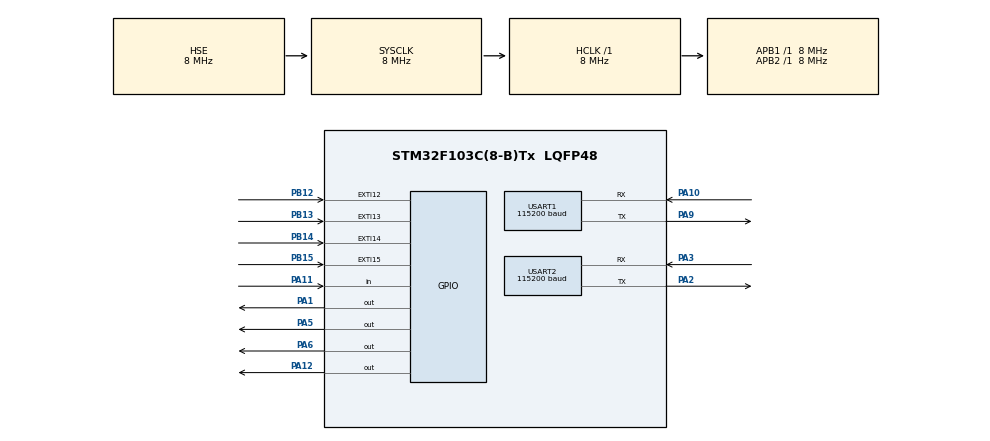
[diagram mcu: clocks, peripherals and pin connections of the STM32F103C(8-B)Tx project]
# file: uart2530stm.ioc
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Mcu.Family=STM32F1
Mcu.Name=STM32F103C(8-B)Tx
Mcu.Package=LQFP48
NVIC.EXTI15_10_IRQn=true\:0\:0\:false
NVIC.PriorityGroup=NVIC_PRIORITYGROUP_4
NVIC.TIM2_IRQn=true\:0\:0\:false
NVIC.TIM3_IRQn=true\:0\:0\:false
NVIC.USART1_IRQn=true\:0\:0\:false
NVIC.USART2_IRQn=true\:1\:0\:true
PA1.Signal=GPIO_Output
PA10.GPIO_PuPd=GPIO_NOPULL
PA10.Mode=Asynchronous
PA10.Signal=USART1_RX
PA11.GPIO_PuPd=GPIO_PULLUP
PA11.Signal=GPIO_Input
PA12.GPIO_Speed=GPIO_SPEED_HIGH
PA12.Signal=GPIO_Output
PA2.Mode=Asynchronous
PA2.Signal=USART2_TX
PA3.GPIO_PuPd=GPIO_PULLUP
PA3.Mode=Asynchronous
PA3.Signal=USART2_RX
PA5.Signal=GPIO_Output
PA6.Signal=GPIO_Output
PA9.Mode=Asynchronous
PA9.Signal=USART1_TX
PB12.GPIO_PuPd=GPIO_PULLUP
PB12.Signal=GPXTI12
PB13.GPIO_PuPd=GPIO_PULLUP
PB13.Signal=GPXTI13
PB14.GPIO_PuPd=GPIO_PULLUP
PB14.Signal=GPXTI14
PB15.GPIO_PuPd=GPIO_PULLUP
PB15.Signal=GPXTI15
PC14-OSC32_IN.Mode=LSE-External-Oscillator
PC14-OSC32_IN.Signal=RCC_OSC32_IN
PC15-OSC32_OUT.Mode=LSE-External-Oscillator
PC15-OSC32_OUT.Signal=RCC_OSC32_OUT
PD0-OSC_IN.Mode=HSE-External-Oscillator
PD0-OSC_IN.Signal=RCC_OSC_IN
PD1-OSC_OUT.Mode=HSE-External-Oscillator
PD1-OSC_OUT.Signal=RCC_OSC_OUT
ProjectManager.TargetToolchain=EWARM
RCC.AHBFreq_Value=8000000
RCC.APB1Freq_Value=8000000
RCC.APB1TimFreq_Value=8000000
RCC.APB2Freq_Value=8000000
RCC.APB2TimFreq_Value=8000000
RCC.HCLKFreq_Value=8000000
RCC.HSIState=RCC_HSI_ON
RCC.PLLMUL=RCC_PLL_MUL9
RCC.PLLSourceVirtual=RCC_PLLSOURCE_HSE
RCC.SYSCLKFreq_VALUE=8000000
RCC.SYSCLKSource=RCC_SYSCLKSOURCE_HSE
RCC.USBFreq_Value=72000000
TIM2.Period=4999
TIM2.Prescaler=7999
TIM2.TIM_MasterOutputTrigger=TIM_TRGO_UPDATE
TIM3.Period=1
TIM3.Prescaler=7999
TIM3.TIM_MasterOutputTrigger=TIM_TRGO_UPDATE
USART1.BaudRate=115200
USART2.BaudRate=115200
USART2.Parity=UART_PARITY_NONE
USART2.WordLength=UART_WORDLENGTH_8B
VP_TIM2_VS_ClockSourceINT.Mode=Internal
VP_TIM3_VS_ClockSourceINT.Mode=Internal
board=uart2530stm

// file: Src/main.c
/**
  ******************************************************************************
  * File Name          : main.c
  * Description        : Main program body
  ******************************************************************************
  *
  * COPYRIGHT(c) 2016 STMicroelectronics
  *
  * Redistribution and use in source and binary forms, with or without modification,
  * are permitted provided that the following conditions are met:
  *   1. Redistributions of source code must retain the above copyright notice,
  *      this list of conditions and the following disclaimer.
  *   2. Redistributions in binary form must reproduce the above copyright notice,
  *      this list of conditions and the following disclaimer in the documentation
  *      and/or other materials provided with the distribution.
  *   3. Neither the name of STMicroelectronics nor the names of its contributors
  *      may be used to endorse or promote products derived from this software
  *      without specific prior written permission.
  *
  * THIS SOFTWARE IS PROVIDED BY THE COPYRIGHT HOLDERS AND CONTRIBUTORS "AS IS"
  * AND ANY EXPRESS OR IMPLIED WARRANTIES, INCLUDING, BUT NOT LIMITED TO, THE
  * IMPLIED WARRANTIES OF MERCHANTABILITY AND FITNESS FOR A PARTICULAR PURPOSE ARE
  * DISCLAIMED. IN NO EVENT SHALL THE COPYRIGHT HOLDER OR CONTRIBUTORS BE LIABLE
  * FOR ANY DIRECT, INDIRECT, INCIDENTAL, SPECIAL, EXEMPLARY, OR CONSEQUENTIAL
  * DAMAGES (INCLUDING, BUT NOT LIMITED TO, PROCUREMENT OF SUBSTITUTE GOODS OR
  * SERVICES; LOSS OF USE, DATA, OR PROFITS; OR BUSINESS INTERRUPTION) HOWEVER
  * CAUSED AND ON ANY THEORY OF LIABILITY, WHETHER IN CONTRACT, STRICT LIABILITY,
  * OR TORT (INCLUDING NEGLIGENCE OR OTHERWISE) ARISING IN ANY WAY OUT OF THE USE
  * OF THIS SOFTWARE, EVEN IF ADVISED OF THE POSSIBILITY OF SUCH DAMAGE.
  *
  ******************************************************************************
  */
#include "stm32f1xx_hal.h"

/* USER CODE BEGIN Includes */
#include <string.h>
#define GFF_CONST 3

/* USER CODE END Includes */

TIM_HandleTypeDef htim2;
TIM_HandleTypeDef htim3;

UART_HandleTypeDef huart1;
UART_HandleTypeDef huart2;

/* USER CODE BEGIN PV */
/* Private variables ---------------------------------------------------------*/

/* USER CODE END PV */

void SystemClock_Config(void);
static void MX_GPIO_Init(void);
static void MX_TIM2_Init(void);
static void MX_TIM3_Init(void);
static void MX_USART1_UART_Init(void);
static void MX_USART2_UART_Init(void);

/* USER CODE BEGIN PFP */
void perform_setup(void);
/* Private function prototypes -----------------------------------------------*/

/* USER CODE END PFP */

/* USER CODE BEGIN 0 */
typedef char byte;

void awesome_print(byte *buffer, int length) {
  for (int i = 0; i < length; i++) {
    printf("%02X", buffer[i]);
  }
}
//byte SETTINGS_RESET[] ={0xFE, 0x03, 0x26, 0x05, 0x03, 0x01, 0x03, 0x21};
byte SETTINGS_RESET[] ={0xFE, 0x03, 0x26, 0x05, 0x03, 0x01, 0x00, 0x22};
//byte SYS_RESET_REQ[] = {0xFE, 0x00, 0x21, 0x00, 0x21};
byte SYS_RESET_REQ[] = {0xFE, 0x01, 0x41, 0x00, 0x00, 0x40};
//byte TXPOWER[] = {0xFE, 0x02, 0x21, 0x0F, 0x00, 0x0F, 0x23};
byte SETUP_1[] = {0xFE, 0x03, 0x26, 0x05, 0x87, 0x01, 0x00, 0xA6}; //Coordinator
//byte SETUP_1[] = {0xFE, 0x03, 0x26, 0x05, 0x87, 0x01, 0x01, 0xA7}; //Router
byte SETUP_2[] = {0xFE, 0x04, 0x26, 0x05, 0x83, 0x02, 0x13, 0x37, 0x82};
//byte SETUP_3[] = {0xFE, 0x06, 0x26, 0x05, 0x84, 0x04, 0x00, 0x00, 0x08, 0x00, 0xAD};
byte SETUP_3[] = {0xFE, 0x12, 0x26, 0x05, 0x62, 0x10, 0x13, 0x37, 0x13, 0x37, 0x13, 0x37, 0x13, 0x37, 0x13, 0x37, 0x13, 0x37, 0x13, 0x37, 0x13, 0x37, 0x43};
//byte SETUP_4[] = {0xFE, 0x03, 0x26, 0x05, 0x63, 0x01, 0x01, 0x43};
//byte SETUP_5[] = {0xFE, 0x03, 0x26, 0x05, 0x64, 0x01, 0x01, 0x44};
byte SETUP_4[] = {0xFE, 0x15, 0x26, 0x0A, 0x05, 0x05, 0x05, 0x14, 0x88, 0x01, 0x00, 0x02, 0x26, 0x03, 0x26, 0x06, 0x04, 0x46, 0x87, 0x46, 0x83, 0x66, 0x03, 0x66, 0x06, 0xA3};
byte SETUP_START[] = {0xFE, 0x00, 0x26, 0x00, 0x26};
//byte GET_PANID[] = {0xFE, 0x01, 0x26, 0x06, 0x06, 0x27};

GPIO_PinState cts;
GPIO_PinState rts;
byte receive_buffer_1[256];
byte send_buffer_1[256];
byte gff[253];
byte gff_len;

typedef enum {
    WAIT_SOF,
    WAIT_LEN,
    WAIT_GFF,
    WAIT_FCS
} state_type;

state_type state = WAIT_SOF;
byte len;

byte calcFCS(byte *pMsg, unsigned int len) {
    uint8_t result = 0;
    while (len--) {
        result ^= *pMsg++;
    }
    return result;
}

void HAL_UART_TxCpltCallback(UART_HandleTypeDef *huart) {
    if (huart == &huart2) {
      HAL_GPIO_WritePin(GPIOA, GPIO_PIN_1, GPIO_PIN_RESET);
    }
}
int iter = 0;
void HAL_UART_RxCpltCallback(UART_HandleTypeDef *huart) {
    if (huart == &huart1) {
      HAL_GPIO_WritePin(GPIOA, GPIO_PIN_12, GPIO_PIN_SET);
        switch(state) {
            case WAIT_SOF:
            if (receive_buffer_1[0] = 0xFE) {
                state = WAIT_LEN;
                HAL_UART_Receive_IT(&huart1, receive_buffer_1, 1);
            }
            HAL_GPIO_WritePin(GPIOA, GPIO_PIN_12, GPIO_PIN_RESET);
            break;

            case WAIT_LEN:
            gff_len = receive_buffer_1[0] + GFF_CONST;
            state = WAIT_GFF;
            HAL_UART_Receive_IT(&huart1, receive_buffer_1, gff_len - 1);
            HAL_GPIO_WritePin(GPIOA, GPIO_PIN_12, GPIO_PIN_RESET);
            break;

            case WAIT_GFF:
            state = WAIT_FCS;
            gff[0] = gff_len - GFF_CONST;
            memcpy(gff + 1, receive_buffer_1, gff_len - 1);
            HAL_UART_Receive_IT(&huart1, receive_buffer_1, 1);
            HAL_GPIO_WritePin(GPIOA, GPIO_PIN_12, GPIO_PIN_RESET);
            break;

            case WAIT_FCS:
            state = WAIT_SOF;
            if (receive_buffer_1[0] == calcFCS(gff, gff_len)) {
                // stm32 actions on zb response here
                printf("%d: ", iter++);
                awesome_print(gff, gff_len);
                printf("\n");
                perform_setup();
            }
            HAL_UART_Receive_IT(&huart1, receive_buffer_1, 1);
            HAL_GPIO_WritePin(GPIOA, GPIO_PIN_12, GPIO_PIN_RESET);
            break;
            default:
            break;
        }
    }
    if (huart == &huart2) {

    }
}
typedef enum {
  S_RESET_SET,
  S_RESTART,
  S_SETUP_1,
  S_SETUP_2,
  S_SETUP_3,
  S_SETUP_4,
  S_START,
  S_START_RES_1,
  S_START_RES_2,
  NOTHING
} setup_state;
//setup_state s_state = S_RESET_SET;
setup_state s_state = S_RESTART;

void perform_setup() {
  do {
    cts = HAL_GPIO_ReadPin(GPIOA, GPIO_PIN_11);
  } while (cts == GPIO_PIN_SET);
  switch (s_state) {
  case S_RESET_SET:
    HAL_UART_Transmit_IT(&huart1, SETTINGS_RESET, sizeof(SETTINGS_RESET));
    s_state++;
    break;
  case S_RESTART:
    HAL_UART_Transmit_IT(&huart1, SYS_RESET_REQ, sizeof(SYS_RESET_REQ));
    s_state++;
    break;
  case S_SETUP_1:
    HAL_UART_Transmit_IT(&huart1, SETUP_1, sizeof(SETUP_1));
    s_state++;
    break;
  case S_SETUP_2:
    HAL_UART_Transmit_IT(&huart1, SETUP_2, sizeof(SETUP_2));
    s_state++;
    break;
  case S_SETUP_3:
    HAL_UART_Transmit_IT(&huart1, SETUP_3, sizeof(SETUP_3));
    s_state++;
    break;
  case S_SETUP_4:
    HAL_UART_Transmit_IT(&huart1, SETUP_4, sizeof(SETUP_4));
    s_state++;
    break;
  case S_START:

    HAL_UART_Transmit_IT(&huart1, SETUP_START, sizeof(SETUP_START));
    s_state++;
    break;
  case S_START_RES_1:
    s_state++;
    break;
  case S_START_RES_2:
    //HAL_TIM_Base_Start_IT(&htim2);
    s_state = NOTHING;
    break;
  case NOTHING:
    //HAL_GPIO_WritePin(GPIOA, GPIO_PIN_1, GPIO_PIN_SET);
    //HAL_UART_Transmit_IT(&huart2, gff, gff_len);
  default:
    break;
  }
}

/* USER CODE END 0 */

int main(void)
{

  /* MCU Configuration----------------------------------------------------------*/

  /* Reset of all peripherals, Initializes the Flash interface and the Systick. */
  HAL_Init();

  /* Configure the system clock */
  SystemClock_Config();

  /* Initialize all configured peripherals */
  MX_GPIO_Init();
  MX_TIM2_Init();
  MX_TIM3_Init();
  MX_USART1_UART_Init();
  MX_USART2_UART_Init();

  /* USER CODE BEGIN 2 */

  //HAL_TIM_Base_Start_IT(&htim2);
  HAL_TIM_Base_Start_IT(&htim3);

  //HAL_UART_Receive_IT(&huart1, receive_buffer_1, 1);
  //memcpy(send_buffer_1, SYS_RESET_REQ, sizeof(SYS_RESET_REQ));
  //HAL_UART_Transmit_IT(&huart1, send_buffer_1, sizeof(SYS_RESET_REQ));

  HAL_GPIO_WritePin(GPIOA, GPIO_PIN_12, GPIO_PIN_SET);
  HAL_Delay(1000);
  HAL_UART_Receive_IT(&huart1, receive_buffer_1, 1);
  HAL_GPIO_WritePin(GPIOA, GPIO_PIN_12, GPIO_PIN_RESET);
  HAL_Delay(1000);
  HAL_UART_Transmit_IT(&huart1, SYS_RESET_REQ, sizeof(SYS_RESET_REQ));
  /* USER CODE END 2 */

  /* Infinite loop */
  while (1)
  {

  }

}

/** System Clock Configuration
*/
void SystemClock_Config(void)
{

  RCC_OscInitTypeDef RCC_OscInitStruct;
  RCC_ClkInitTypeDef RCC_ClkInitStruct;

  RCC_OscInitStruct.OscillatorType = RCC_OSCILLATORTYPE_HSE;
  RCC_OscInitStruct.HSEState = RCC_HSE_ON;
  RCC_OscInitStruct.PLL.PLLState = RCC_PLL_NONE;
  HAL_RCC_OscConfig(&RCC_OscInitStruct);

  RCC_ClkInitStruct.ClockType = RCC_CLOCKTYPE_SYSCLK;
  RCC_ClkInitStruct.SYSCLKSource = RCC_SYSCLKSOURCE_HSE;
  RCC_ClkInitStruct.AHBCLKDivider = RCC_SYSCLK_DIV1;
  RCC_ClkInitStruct.APB1CLKDivider = RCC_HCLK_DIV1;
  RCC_ClkInitStruct.APB2CLKDivider = RCC_HCLK_DIV1;
  HAL_RCC_ClockConfig(&RCC_ClkInitStruct, FLASH_LATENCY_0);

  HAL_SYSTICK_Config(HAL_RCC_GetHCLKFreq()/1000);

  HAL_SYSTICK_CLKSourceConfig(SYSTICK_CLKSOURCE_HCLK);

  /* SysTick_IRQn interrupt configuration */
  HAL_NVIC_SetPriority(SysTick_IRQn, 0, 0);
}

/* TIM2 init function */
void MX_TIM2_Init(void)
{

  TIM_ClockConfigTypeDef sClockSourceConfig;
  TIM_MasterConfigTypeDef sMasterConfig;

  htim2.Instance = TIM2;
  htim2.Init.Prescaler = 7999;
  htim2.Init.CounterMode = TIM_COUNTERMODE_UP;
  htim2.Init.Period = 999;
  htim2.Init.ClockDivision = TIM_CLOCKDIVISION_DIV1;
  HAL_TIM_Base_Init(&htim2);

  sClockSourceConfig.ClockSource = TIM_CLOCKSOURCE_INTERNAL;
  HAL_TIM_ConfigClockSource(&htim2, &sClockSourceConfig);

  sMasterConfig.MasterOutputTrigger = TIM_TRGO_UPDATE;
  sMasterConfig.MasterSlaveMode = TIM_MASTERSLAVEMODE_DISABLE;
  HAL_TIMEx_MasterConfigSynchronization(&htim2, &sMasterConfig);

}

/* TIM3 init function */
void MX_TIM3_Init(void)
{

  TIM_ClockConfigTypeDef sClockSourceConfig;
  TIM_MasterConfigTypeDef sMasterConfig;

  htim3.Instance = TIM3;
  htim3.Init.Prescaler = 7999;
  htim3.Init.CounterMode = TIM_COUNTERMODE_UP;
  htim3.Init.Period = 1;
  htim3.Init.ClockDivision = TIM_CLOCKDIVISION_DIV1;
  HAL_TIM_Base_Init(&htim3);

  sClockSourceConfig.ClockSource = TIM_CLOCKSOURCE_INTERNAL;
  HAL_TIM_ConfigClockSource(&htim3, &sClockSourceConfig);

  sMasterConfig.MasterOutputTrigger = TIM_TRGO_UPDATE;
  sMasterConfig.MasterSlaveMode = TIM_MASTERSLAVEMODE_DISABLE;
  HAL_TIMEx_MasterConfigSynchronization(&htim3, &sMasterConfig);

}

/* USART1 init function */
void MX_USART1_UART_Init(void)
{

  huart1.Instance = USART1;
  huart1.Init.BaudRate = 115200;
  huart1.Init.WordLength = UART_WORDLENGTH_8B;
  huart1.Init.StopBits = UART_STOPBITS_1;
  huart1.Init.Parity = UART_PARITY_NONE;
  huart1.Init.Mode = UART_MODE_TX_RX;
  huart1.Init.HwFlowCtl = UART_HWCONTROL_NONE;
  huart1.Init.OverSampling = UART_OVERSAMPLING_16;
  HAL_UART_Init(&huart1);

}

/* USART2 init function */
void MX_USART2_UART_Init(void)
{

  huart2.Instance = USART2;
  huart2.Init.BaudRate = 115200;
  huart2.Init.WordLength = UART_WORDLENGTH_8B;
  huart2.Init.StopBits = UART_STOPBITS_1;
  huart2.Init.Parity = UART_PARITY_NONE;
  huart2.Init.Mode = UART_MODE_TX_RX;
  huart2.Init.HwFlowCtl = UART_HWCONTROL_NONE;
  huart2.Init.OverSampling = UART_OVERSAMPLING_16;
  HAL_UART_Init(&huart2);

}

/** Configure pins as
        * Analog
        * Input
        * Output
        * EVENT_OUT
        * EXTI
*/
void MX_GPIO_Init(void)
{

  GPIO_InitTypeDef GPIO_InitStruct;

  /* GPIO Ports Clock Enable */
  __GPIOC_CLK_ENABLE();
  __GPIOD_CLK_ENABLE();
  __GPIOA_CLK_ENABLE();
  __GPIOB_CLK_ENABLE();

  /*Configure GPIO pins : PA1 PA5 PA6 */
  GPIO_InitStruct.Pin = GPIO_PIN_1|GPIO_PIN_5|GPIO_PIN_6;
  GPIO_InitStruct.Mode = GPIO_MODE_OUTPUT_PP;
  GPIO_InitStruct.Speed = GPIO_SPEED_LOW;
  HAL_GPIO_Init(GPIOA, &GPIO_InitStruct);

  /*Configure GPIO pins : PB12 PB13 PB14 PB15 */
  GPIO_InitStruct.Pin = GPIO_PIN_12|GPIO_PIN_13|GPIO_PIN_14|GPIO_PIN_15;
  GPIO_InitStruct.Mode = GPIO_MODE_IT_RISING;
  GPIO_InitStruct.Pull = GPIO_PULLUP;
  HAL_GPIO_Init(GPIOB, &GPIO_InitStruct);

  /*Configure GPIO pin : PA11 */
  GPIO_InitStruct.Pin = GPIO_PIN_11;
  GPIO_InitStruct.Mode = GPIO_MODE_INPUT;
  GPIO_InitStruct.Pull = GPIO_PULLUP;
  HAL_GPIO_Init(GPIOA, &GPIO_InitStruct);

  /*Configure GPIO pin : PA12 */
  GPIO_InitStruct.Pin = GPIO_PIN_12;
  GPIO_InitStruct.Mode = GPIO_MODE_OUTPUT_PP;
  GPIO_InitStruct.Speed = GPIO_SPEED_HIGH;
  HAL_GPIO_Init(GPIOA, &GPIO_InitStruct);

  /* EXTI interrupt init*/
  HAL_NVIC_SetPriority(EXTI15_10_IRQn, 0, 0);
  HAL_NVIC_EnableIRQ(EXTI15_10_IRQn);

}

/************************ (C) COPYRIGHT STMicroelectronics *****END OF FILE****/
